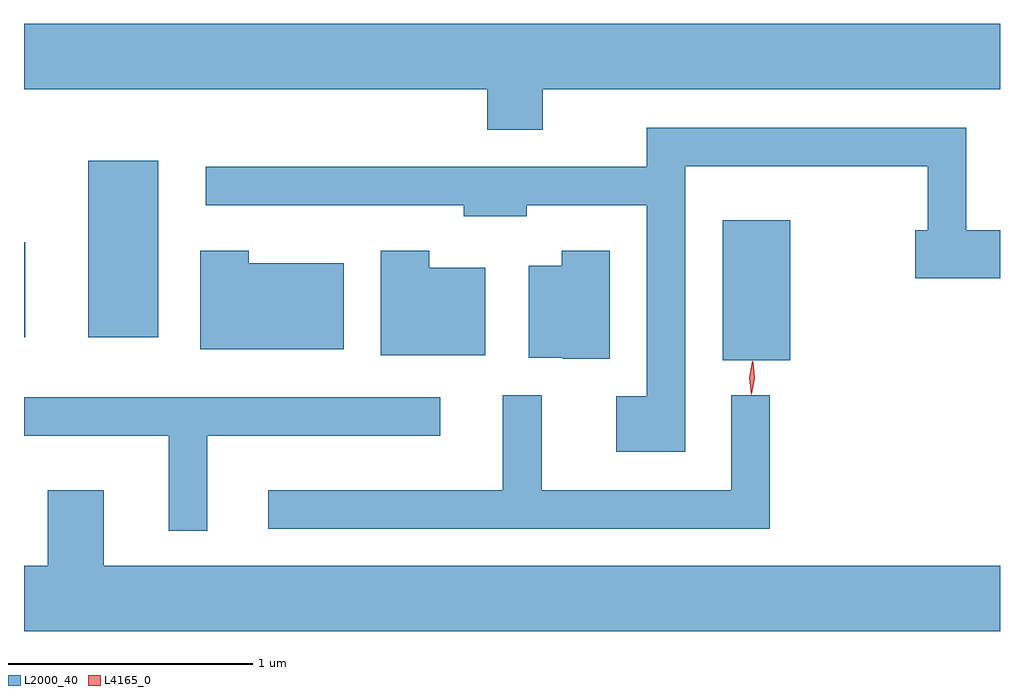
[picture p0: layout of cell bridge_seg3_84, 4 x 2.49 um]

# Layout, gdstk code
import gdstk
lib = gdstk.Library(unit=1e-6, precision=1e-09)
def R(c, l, rs):  # rectangles x0, y0, x1, y1
    for r in rs: c.add(gdstk.rectangle(r[:2], r[2:], *l))
def P(c, l, *ps):  # polygons
    for p in ps: c.add(gdstk.Polygon(p, *l))
L2000_40 = (2000, 40)
L4165_0 = (4165, 0)

bridge_seg3_84 = lib.new_cell('bridge_seg3_84')
R(bridge_seg3_84, L2000_40, [(1125.416,1204.826,1125.694,1205.399), (1122.553,1204.921,1122.559,1205.309), (1122.816,1204.921,1123.104,1205.644)])
P(bridge_seg3_84, L2000_40, [(1124.679,1205.936),(1126.553,1205.936),(1126.553,1206.204),(1122.553,1206.204),(1122.553,1205.936),(1124.451,1205.936),(1124.451,1205.771),(1124.679,1205.771)],
  [(1125.264,1205.621),(1126.256,1205.621),(1126.256,1205.359),(1126.206,1205.359),(1126.206,1205.161),(1126.553,1205.161),(1126.553,1205.359),(1126.414,1205.359),(1126.414,1205.779),(1125.106,1205.779),(1125.106,1205.619),(1123.298,1205.619),(1123.298,1205.461),(1124.356,1205.461),(1124.356,1205.416),(1124.614,1205.416),(1124.614,1205.461),(1125.106,1205.461),(1125.106,1204.679),(1124.981,1204.679),(1124.981,1204.451),(1125.264,1204.451)],
  [(1124.444,1205.204),(1124.214,1205.204),(1124.214,1205.274),(1124.016,1205.274),(1124.016,1204.846),(1124.444,1204.846)],
  [(1123.864,1205.224),(1123.474,1205.224),(1123.474,1205.274),(1123.276,1205.274),(1123.276,1204.871),(1123.864,1204.871)],
  [(1124.954,1205.274),(1124.756,1205.274),(1124.756,1205.214),(1124.621,1205.214),(1124.621,1204.836),(1124.76,1204.836),(1124.76,1204.831),(1124.954,1204.831)],
  [(1125.609,1204.683),(1125.451,1204.683),(1125.451,1204.294),(1124.674,1204.294),(1124.674,1204.683),(1124.516,1204.683),(1124.516,1204.294),(1123.553,1204.294),(1123.553,1204.136),(1125.609,1204.136)],
  [(1123.304,1204.516),(1124.258,1204.516),(1124.258,1204.674),(1122.553,1204.674),(1122.553,1204.516),(1123.146,1204.516),(1123.146,1204.128),(1123.304,1204.128)],
  [(1126.553,1203.984),(1122.879,1203.984),(1122.879,1204.294),(1122.651,1204.294),(1122.651,1203.984),(1122.553,1203.984),(1122.553,1203.716),(1126.553,1203.716)])
P(bridge_seg3_84, L4165_0, [(1125.533,1204.684),(1125.533,1204.685),(1125.526,1204.754),(1125.538,1204.821),(1125.539,1204.822),(1125.539,1204.821),(1125.546,1204.753),(1125.534,1204.685)],
  [(1125.535,1204.688),(1125.528,1204.754),(1125.54,1204.819),(1125.54,1204.82),(1125.541,1204.819),(1125.548,1204.753),(1125.536,1204.688),(1125.536,1204.688)])

lib.write_gds('bridge_seg3_84.gds')
